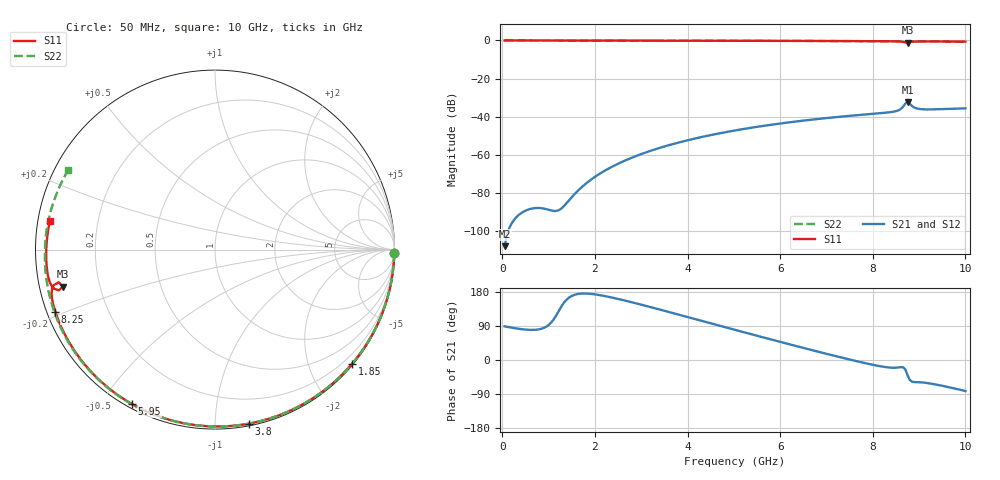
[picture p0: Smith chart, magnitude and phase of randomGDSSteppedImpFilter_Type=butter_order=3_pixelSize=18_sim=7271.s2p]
! freq	dB(S11)	phase(S11)	dB(S12)	phase(S12)
!  dB(S21)	phase(S21)	dB(S22)	phase(S22)
!S-par simulation data
#  GHz  S  DB  R 50
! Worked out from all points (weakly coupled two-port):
!   200 points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, 50 MHz to 10 GHz, reference 50 ohm
!   highest |S21| = -32.33 dB at 8.75 GHz (marker M1); lowest = -108.0 dB at 50 MHz (marker M2)
!   lowest |S11| = -1.2 dB at 8.75 GHz (marker M3), VSWR 14.58, Z = 3.48 - j5.95 ohm
!   |S11| at or under -10 dB: nowhere
!   |S22| runs from -0.6 to 0.0 dB; largest |S21 - S12| = 0
!   S11 on the Smith chart (normalised r, x): 50 MHz: open; 1.85 GHz: 0.03, -2.75; 3.8 GHz: 0.02, -1.21; 5.95 GHz: 0.02, -0.60; 8.25 GHz: 0.02, -0.19; 10 GHz: 0.03, +0.09
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0.05  -0.00 -1.1  -108.02 88.8  -108.02 88.8  -0.00 -1.1
0.8  -0.02 -17.5  -87.98 81.1  -87.98 81.1  -0.02 -18.7
1.55  -0.04 -33.6  -80.98 171.6  -80.98 171.6  -0.05 -35.9
1.6  -0.04 -34.6  -79.71 173.4  -79.71 173.4  -0.05 -37.0
1.75  -0.05 -37.8  -76.30 175.4  -76.30 175.4  -0.05 -40.4
1.85  -0.05 -39.9  -74.30 175.1  -74.30 175.1  -0.05 -42.6
2.15  -0.06 -46.2  -69.30 170.2  -69.30 170.2  -0.06 -49.3
2.5  -0.07 -53.3  -64.74 161.2  -64.74 161.2  -0.07 -56.9
3.4  -0.09 -71.3  -56.41 133.2  -56.41 133.2  -0.10 -76.0
3.8  -0.11 -79.0  -53.65 120.0  -53.65 120.0  -0.11 -84.3
5.05  -0.16 -102.3  -47.15 78.7  -47.15 78.7  -0.17 -109.1
5.95  -0.20 -118.3  -43.78 49.5  -43.78 49.5  -0.22 -126.4
6.7  -0.25 -131.4  -41.54 25.7  -41.54 25.7  -0.27 -140.6
7.5  -0.32 -145.3  -39.58 1.2  -39.58 1.2  -0.34 -156.0
8.25  -0.40 -158.8  -38.00 -18.3  -38.00 -18.3  -0.42 -170.7
8.35  -0.42 -160.7  -37.74 -19.8  -37.74 -19.8  -0.43 -172.7
8.6  -0.58 -166.3  -36.06 -18.9  -36.06 -18.9  -0.46 -177.8
8.7  -1.01 -168.2  -33.27 -24.3  -33.27 -24.3  -0.47 -179.8
8.75  -1.19 -166.4  -32.33 -39.7  -32.33 -39.7  -0.47 179.2
8.9  -0.60 -167.6  -35.27 -58.2  -35.27 -58.2  -0.48 176.0
9.05  -0.52 -171.1  -36.08 -59.0  -36.08 -59.0  -0.50 172.8
10  -0.60 170.2  -35.65 -81.8  -35.65 -81.8  -0.63 151.5
